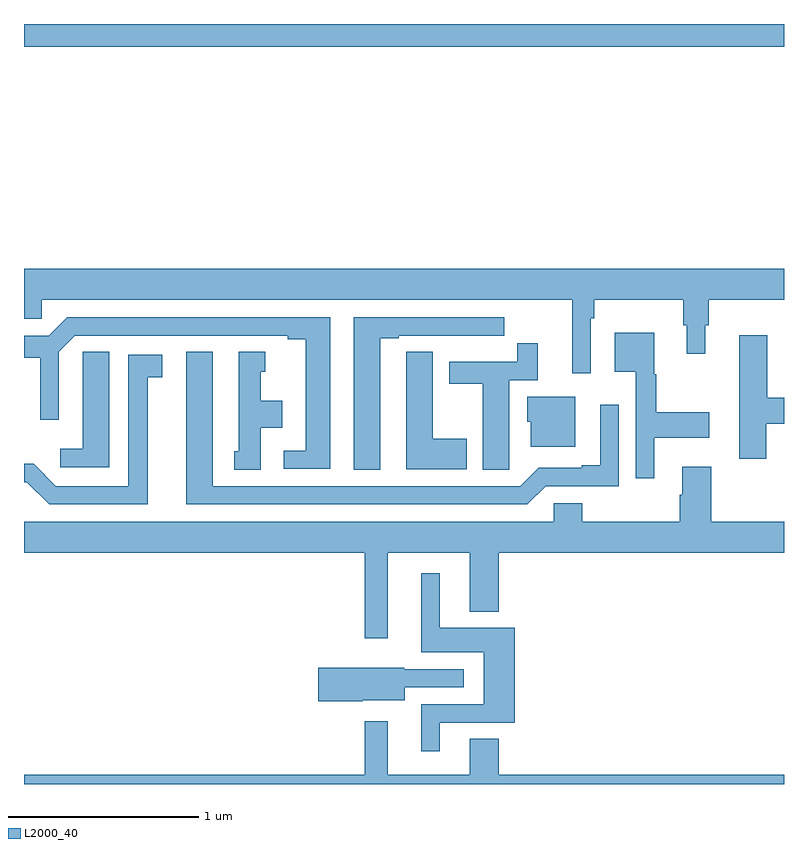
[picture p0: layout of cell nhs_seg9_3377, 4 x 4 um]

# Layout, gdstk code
import gdstk
lib = gdstk.Library(unit=1e-6, precision=1e-09)
def R(c, l, rs):  # rectangles x0, y0, x1, y1
    for r in rs: c.add(gdstk.rectangle(r[:2], r[2:], *l))
def P(c, l, *ps):  # polygons
    for p in ps: c.add(gdstk.Polygon(p, *l))
L2000_40 = (2000, 40)

nhs_seg9_3377 = lib.new_cell('nhs_seg9_3377')
R(nhs_seg9_3377, L2000_40, [(303,1236.38,307,1236.5)])
P(nhs_seg9_3377, L2000_40, [(305.982,1234.952),(306.002,1234.952),(306.002,1235.048),(306.469,1235.048),(306.469,1234.914),(306.488,1234.914),(306.488,1234.764),(306.586,1234.764),(306.586,1234.914),(306.605,1234.914),(306.605,1235.048),(307,1235.048),(307,1235.212),(303,1235.212),(303,1234.95),(303.093,1234.95),(303.093,1235.048),(305.885,1235.048),(305.885,1234.662),(305.982,1234.662)],
  [(304.612,1234.956),(303.227,1234.956),(303.131,1234.86),(303,1234.86),(303,1234.744),(303.086,1234.744),(303.086,1234.416),(303.183,1234.416),(303.183,1234.776),(303.267,1234.86),(304.388,1234.86),(304.388,1234.84),(304.484,1234.84),(304.484,1234.254),(304.368,1234.254),(304.368,1234.158),(304.612,1234.158)],
  [(304.876,1234.845),(304.972,1234.845),(304.972,1234.86),(305.248,1234.86),(305.248,1234.859),(305.414,1234.859),(305.414,1234.86),(305.527,1234.86),(305.527,1234.956),(304.736,1234.956),(304.736,1234.153),(304.876,1234.153)],
  [(306.316,1234.322),(306.607,1234.322),(306.607,1234.457),(306.328,1234.457),(306.328,1234.656),(306.316,1234.656),(306.316,1234.876),(306.11,1234.876),(306.11,1234.67),(306.219,1234.67),(306.219,1234.11),(306.316,1234.11)],
  [(306.906,1234.396),(307,1234.396),(307,1234.532),(306.911,1234.532),(306.911,1234.861),(306.764,1234.861),(306.764,1234.212),(306.906,1234.212)],
  [(305.553,1234.264),(305.554,1234.264),(305.554,1234.626),(305.705,1234.626),(305.705,1234.819),(305.596,1234.819),(305.596,1234.722),(305.237,1234.722),(305.237,1234.606),(305.414,1234.606),(305.414,1234.153),(305.553,1234.153)],
  [(305.329,1234.317),(305.152,1234.317),(305.152,1234.775),(305.013,1234.775),(305.013,1234.667),(305.012,1234.667),(305.012,1234.157),(305.329,1234.157)],
  [(303.448,1234.775),(303.309,1234.775),(303.309,1234.667),(303.308,1234.667),(303.308,1234.264),(303.192,1234.264),(303.192,1234.167),(303.448,1234.167)],
  [(304.246,1234.376),(304.36,1234.376),(304.36,1234.516),(304.246,1234.516),(304.246,1234.671),(304.27,1234.671),(304.27,1234.774),(304.13,1234.774),(304.13,1234.251),(304.106,1234.251),(304.106,1234.153),(304.246,1234.153)],
  [(305.745,1234.068),(306.129,1234.068),(306.129,1234.495),(306.032,1234.495),(306.032,1234.177),(305.936,1234.177),(305.936,1234.164),(305.709,1234.164),(305.613,1234.068),(303.994,1234.068),(303.994,1234.774),(303.854,1234.774),(303.854,1233.972),(305.649,1233.972)],
  [(303.652,1234.642),(303.727,1234.642),(303.727,1234.758),(303.548,1234.758),(303.548,1234.068),(303.168,1234.068),(303.051,1234.185),(303,1234.185),(303,1234.089),(303.015,1234.089),(303.132,1233.972),(303.652,1233.972)],
  [(305.902,1234.537),(305.648,1234.537),(305.648,1234.407),(305.666,1234.407),(305.666,1234.274),(305.902,1234.274)],
  [(304.915,1233.716),(305.345,1233.716),(305.345,1233.407),(305.498,1233.407),(305.498,1233.716),(307,1233.716),(307,1233.88),(306.617,1233.88),(306.617,1234.171),(306.464,1234.171),(306.464,1234.022),(306.452,1234.022),(306.452,1233.88),(305.939,1233.88),(305.939,1233.978),(305.787,1233.978),(305.787,1233.88),(303,1233.88),(303,1233.716),(304.794,1233.716),(304.794,1233.267),(304.915,1233.267)],
  [(305.188,1232.823),(305.584,1232.823),(305.584,1233.322),(305.188,1233.322),(305.188,1233.61),(305.09,1233.61),(305.09,1233.194),(305.42,1233.194),(305.42,1232.919),(305.09,1232.919),(305.09,1232.673),(305.188,1232.673)],
  [(304.782,1232.942),(305.005,1232.942),(305.005,1233.009),(305.314,1233.009),(305.314,1233.105),(305.001,1233.105),(305.001,1233.113),(304.548,1233.113),(304.548,1232.935),(304.782,1232.935)],
  [(307,1232.548),(305.498,1232.548),(305.498,1232.738),(305.345,1232.738),(305.345,1232.548),(304.915,1232.548),(304.915,1232.83),(304.794,1232.83),(304.794,1232.548),(303,1232.548),(303,1232.5),(307,1232.5)])

lib.write_gds('nhs_seg9_3377.gds')
